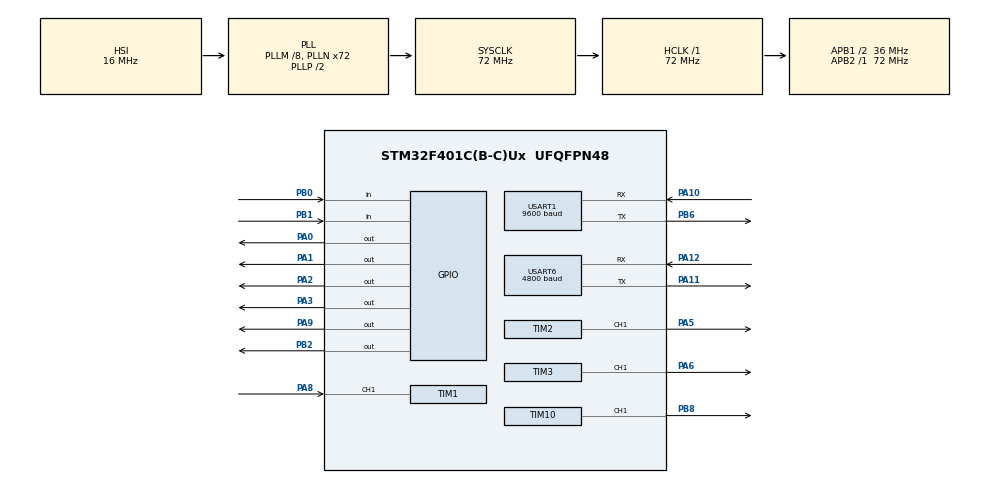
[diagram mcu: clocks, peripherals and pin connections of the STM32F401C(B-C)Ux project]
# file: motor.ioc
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Mcu.Family=STM32F4
Mcu.Name=STM32F401C(B-C)Ux
Mcu.Package=UFQFPN48
NVIC.PriorityGroup=NVIC_PRIORITYGROUP_4
PA0-WKUP.Signal=GPIO_Output
PA1.Signal=GPIO_Output
PA10.Mode=Asynchronous
PA10.Signal=USART1_RX
PA11.Mode=Asynchronous
PA11.Signal=USART6_TX
PA12.Mode=Asynchronous
PA12.Signal=USART6_RX
PA2.Signal=GPIO_Output
PA3.Signal=GPIO_Output
PA5.Signal=S_TIM2_CH1_ETR
PA6.Signal=S_TIM3_CH1
PA8.Signal=S_TIM1_CH1
PA9.Signal=GPIO_Output
PB0.Signal=GPIO_Input
PB1.Signal=GPIO_Input
PB2.Signal=GPIO_Output
PB6.Mode=Asynchronous
PB6.Signal=USART1_TX
PB8.Signal=S_TIM10_CH1
ProjectManager.HeapSize=0x200
ProjectManager.StackSize=0x400
ProjectManager.TargetToolchain=STM32CubeIDE
RCC.48MHZClocksFreq_Value=36000000
RCC.AHBFreq_Value=72000000
RCC.APB1CLKDivider=RCC_HCLK_DIV2
RCC.APB1Freq_Value=36000000
RCC.APB1TimFreq_Value=72000000
RCC.APB2Freq_Value=72000000
RCC.APB2TimFreq_Value=72000000
RCC.CortexFreq_Value=72000000
RCC.HCLKFreq_Value=72000000
RCC.HSE_VALUE=25000000
RCC.HSI_VALUE=16000000
RCC.LSE_VALUE=32768
RCC.PLLM=8
RCC.PLLN=72
RCC.SYSCLKFreq_VALUE=72000000
RCC.SYSCLKSource=RCC_SYSCLKSOURCE_PLLCLK
RCC.VCOOutputFreq_Value=144000000
SH.S_TIM10_CH1.0=TIM10_CH1,PWM Generation1 CH1
SH.S_TIM1_CH1.0=TIM1_CH1,Input_Capture1_from_TI1
SH.S_TIM2_CH1_ETR.0=TIM2_CH1,PWM Generation1 CH1
SH.S_TIM3_CH1.0=TIM3_CH1,PWM Generation1 CH1
TIM1.Channel-Input_Capture1_from_TI1=TIM_CHANNEL_1
TIM1.Prescaler=71
TIM10.Channel=TIM_CHANNEL_1
TIM10.Prescaler=4800
TIM2.Channel-PWM\ Generation1\ CH1=TIM_CHANNEL_1
TIM2.Period=499
TIM2.Prescaler=71
TIM3.Channel-PWM\ Generation1\ CH1=TIM_CHANNEL_1
TIM3.Period=499
TIM3.Prescaler=71
USART1.BaudRate=9600
USART1.VirtualMode=VM_ASYNC
USART6.BaudRate=4800
USART6.VirtualMode=VM_ASYNC
VP_TIM10_VS_ClockSourceINT.Mode=Enable_Timer
VP_TIM1_VS_ClockSourceINT.Mode=Internal
VP_TIM2_VS_ClockSourceINT.Mode=Internal
VP_TIM3_VS_ClockSourceINT.Mode=Internal
board=custom

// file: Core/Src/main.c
/* USER CODE BEGIN Header */
/**
  ******************************************************************************
  * @file           : main.c
  * @brief          : Main program body
  ******************************************************************************
  * @attention
  *
  * Copyright (c) 2024 STMicroelectronics.
  * All rights reserved.
  *
  * This software is licensed under terms that can be found in the LICENSE file
  * in the root directory of this software component.
  * If no LICENSE file comes with this software, it is provided AS-IS.
  *
  ******************************************************************************
  */
/* USER CODE END Header */
#include "main.h"

/* USER CODE BEGIN PM */
#define Black 1
#define White 0
#define Stop_Distance 15
#define Low_Distance 30
#define Medium_Distance 40
#define High_Distance 50
#define Stop 0
#define ADLowSpeed 200
#define ADMediumSpeed 250
#define ADHighSpeed 300
#define LowSpeed 100
#define MediumSpeed 200
#define HighSpeed 350
#define VeryHighSpeed 400
#define TSpeed 300
#define RLSpeed 350
#define LimitSpeed 300
#define TURN_ON_AUTOPILOT O
#define TURN_OFF_AUTOPILOT o
#define TURN_ON_ACC D
#define TURN_OFF_ACC d
#define TURN_ON_LKAS K
#define TURN_OFF_LKAS k
#define TURN_ON_AEB A
#define TURN_OFF_AEB a
#define TURN_ON_LCW C
#define TURN_OFF_LCW c
/* USER CODE END PM */

TIM_HandleTypeDef htim1;
TIM_HandleTypeDef htim2;
TIM_HandleTypeDef htim3;
TIM_HandleTypeDef htim10;

UART_HandleTypeDef huart1;
UART_HandleTypeDef huart6;

/* USER CODE BEGIN PV */
#define TRIG_PIN GPIO_PIN_9
#define TRIG_PORT GPIOA
#define ECHO_PIN GPIO_PIN_8
#define ECHO_PORT GPIOA

/* USER CODE END PV */

void SystemClock_Config(void);
static void MX_GPIO_Init(void);
static void MX_TIM1_Init(void);
static void MX_TIM2_Init(void);
static void MX_TIM3_Init(void);
static void MX_USART1_UART_Init(void);
static void MX_USART6_UART_Init(void);
static void MX_TIM10_Init(void);
/* USER CODE BEGIN PFP */
uint16_t ULTRASONIC_u16GetDistance(void);
void Car_vSpeed(uint16_t Distance);
void Auto_vPilot(uint16_t);
void Move_vForward(void);
void Move_vReverse(void);
void Move_vRight(void);
void Move_vLeft(void);
void Move_vRF(void);
void Move_vLF(void);
void Move_vRR(void);
void Move_vLR(void);
void Car_vFroward(void);
void Car_vStop(void);
void Car_vReverse(void);
void Car_vTRight(void);
void Car_vTLeft(void);
void ACC(uint16_t);
void LKAS(void);
void LCW(void);
void AEB(uint16_t);
/* USER CODE END PFP */

/* USER CODE BEGIN 0 */
uint16_t ULTRASONIC_u16GetDistance(void){

	uint32_t pMillis;
	uint32_t Value1 = 0;
	uint32_t Value2 = 0;
	uint16_t Distance  = 0;  // CM

HAL_GPIO_WritePin(TRIG_PORT, TRIG_PIN, GPIO_PIN_SET);  // pull the TRIG pin HIGH
    __HAL_TIM_SET_COUNTER(&htim1, 0);
    while (__HAL_TIM_GET_COUNTER (&htim1) < 10);  // wait for 10 us
    HAL_GPIO_WritePin(TRIG_PORT, TRIG_PIN, GPIO_PIN_RESET);  // pull the TRIG pin low

    pMillis = HAL_GetTick(); // used this to avoid infinite while loop  (for timeout)
    // wait for the echo pin to go high
    while (!(HAL_GPIO_ReadPin (ECHO_PORT, ECHO_PIN)) && pMillis + 10 >  HAL_GetTick());
    Value1 = __HAL_TIM_GET_COUNTER (&htim1);

    pMillis = HAL_GetTick(); // used this to avoid infinite while loop (for timeout)
    // wait for the echo pin to go low
    while ((HAL_GPIO_ReadPin (ECHO_PORT, ECHO_PIN)) && pMillis + 50 > HAL_GetTick());
    Value2 = __HAL_TIM_GET_COUNTER (&htim1);

    Distance = (Value2-Value1)* 0.034/2;
    HAL_Delay(50);

    return Distance;
}

void Car_vSpeed(uint16_t Distance){

	// Fun take Distance to select the speed (i have 5 cases : 0% - 25% - 50% - 75% - 100% )

    if (Distance <= Stop_Distance )	// Distance less than 15cm car will stop.
   {
 	  TIM2->CCR1 = Stop;
 	  TIM3->CCR1 = Stop;
 	  HAL_TIM_PWM_Start(&htim2, TIM_CHANNEL_1);
 	  HAL_TIM_PWM_Start(&htim3, TIM_CHANNEL_1);
 	  Car_vStop();
   }
    else if((Distance > Stop_Distance) && (Distance < Low_Distance)) // Distance more than 15cm and less than 30cm car will take 25% of power .
   {
      HAL_TIM_PWM_Stop(&htim2, TIM_CHANNEL_1);
      HAL_TIM_PWM_Stop(&htim3, TIM_CHANNEL_1);
 	  TIM2->CCR1 = ADLowSpeed;
 	  TIM3->CCR1 = ADLowSpeed;
 	  HAL_TIM_PWM_Start(&htim2, TIM_CHANNEL_1);
 	  HAL_TIM_PWM_Start(&htim3, TIM_CHANNEL_1);
 	  Car_vFroward();
   }
   else if ( (Distance >= Low_Distance) && (Distance < Medium_Distance) ) // Distance more than 30cm and less than 40cm car will take 50% of power .
   {
 	  HAL_TIM_PWM_Stop(&htim2, TIM_CHANNEL_1);
 	  HAL_TIM_PWM_Stop(&htim3, TIM_CHANNEL_1);
 	  TIM2->CCR1 = ADMediumSpeed;
 	  TIM3->CCR1 = ADMediumSpeed;
 	  HAL_TIM_PWM_Start(&htim2, TIM_CHANNEL_1);
 	  HAL_TIM_PWM_Start(&htim3, TIM_CHANNEL_1);
 	  Car_vFroward();
   }
   else if ( (Distance >= Medium_Distance) && (Distance < High_Distance) ) // Distance more than 40cm and less than 50cm car will take 75% of power .
   {
 	  HAL_TIM_PWM_Stop(&htim2, TIM_CHANNEL_1);
 	  HAL_TIM_PWM_Stop(&htim3, TIM_CHANNEL_1);
 	  TIM2->CCR1 = ADHighSpeed;
 	  TIM3->CCR1 = ADHighSpeed;
 	  HAL_TIM_PWM_Start(&htim2, TIM_CHANNEL_1);
 	  HAL_TIM_PWM_Start(&htim3, TIM_CHANNEL_1);
 	  Car_vFroward();
   }
   else  // Distance more than 35cm car will take full power ..
   {
 	  HAL_TIM_PWM_Stop(&htim2, TIM_CHANNEL_1);
 	  HAL_TIM_PWM_Stop(&htim3, TIM_CHANNEL_1);
 	  TIM2->CCR1 = ADHighSpeed;
 	  TIM3->CCR1 = ADHighSpeed;
 	  HAL_TIM_PWM_Start(&htim2, TIM_CHANNEL_1);
 	  HAL_TIM_PWM_Start(&htim3, TIM_CHANNEL_1);
 	  Car_vFroward();
   }
}

void Car_vFroward(void){
      HAL_GPIO_WritePin(GPIOA, GPIO_PIN_0, GPIO_SPEED_HIGH);
      HAL_GPIO_WritePin(GPIOA, GPIO_PIN_1, GPIO_SPEED_LOW);
      HAL_GPIO_WritePin(GPIOA, GPIO_PIN_2, GPIO_SPEED_HIGH);
      HAL_GPIO_WritePin(GPIOA, GPIO_PIN_3, GPIO_SPEED_LOW);
}
void Car_vStop(void){
      HAL_GPIO_WritePin(GPIOA, GPIO_PIN_0, GPIO_SPEED_LOW);
      HAL_GPIO_WritePin(GPIOA, GPIO_PIN_1, GPIO_SPEED_LOW);
      HAL_GPIO_WritePin(GPIOA, GPIO_PIN_2, GPIO_SPEED_LOW);
      HAL_GPIO_WritePin(GPIOA, GPIO_PIN_3, GPIO_SPEED_LOW);
}
void Car_vReverse(void){
      HAL_GPIO_WritePin(GPIOA, GPIO_PIN_0, GPIO_SPEED_LOW);
      HAL_GPIO_WritePin(GPIOA, GPIO_PIN_1, GPIO_SPEED_HIGH);
      HAL_GPIO_WritePin(GPIOA, GPIO_PIN_2, GPIO_SPEED_LOW);
      HAL_GPIO_WritePin(GPIOA, GPIO_PIN_3, GPIO_SPEED_HIGH);
}
void Car_vTRight(void){
    HAL_GPIO_WritePin(GPIOA, GPIO_PIN_0, GPIO_SPEED_LOW);
    HAL_GPIO_WritePin(GPIOA, GPIO_PIN_1, GPIO_SPEED_LOW);
    HAL_GPIO_WritePin(GPIOA, GPIO_PIN_2, GPIO_SPEED_HIGH);
    HAL_GPIO_WritePin(GPIOA, GPIO_PIN_3, GPIO_SPEED_LOW);
}
void Car_vTLeft(void){
    HAL_GPIO_WritePin(GPIOA, GPIO_PIN_0, GPIO_SPEED_HIGH);
    HAL_GPIO_WritePin(GPIOA, GPIO_PIN_1, GPIO_SPEED_LOW);
    HAL_GPIO_WritePin(GPIOA, GPIO_PIN_2, GPIO_SPEED_LOW);
    HAL_GPIO_WritePin(GPIOA, GPIO_PIN_3, GPIO_SPEED_LOW);
}
// Move Forward
void Move_vForward(void){
	  HAL_TIM_PWM_Stop(&htim2, TIM_CHANNEL_1);
	  HAL_TIM_PWM_Stop(&htim3, TIM_CHANNEL_1);
	  TIM2->CCR1 = VeryHighSpeed;
	  TIM3->CCR1 = VeryHighSpeed;
	  HAL_TIM_PWM_Start(&htim2, TIM_CHANNEL_1);
	  HAL_TIM_PWM_Start(&htim3, TIM_CHANNEL_1);
	  Car_vFroward();
}
// Move Reverse
void Move_vReverse(void){
	  HAL_TIM_PWM_Stop(&htim2, TIM_CHANNEL_1);
	  HAL_TIM_PWM_Stop(&htim3, TIM_CHANNEL_1);
	  TIM2->CCR1 = VeryHighSpeed;
	  TIM3->CCR1 = VeryHighSpeed;
	  HAL_TIM_PWM_Start(&htim2, TIM_CHANNEL_1);
	  HAL_TIM_PWM_Start(&htim3, TIM_CHANNEL_1);
	  Car_vReverse();
}
//Move Right
void Move_vRight(void){
	  HAL_TIM_PWM_Stop(&htim2, TIM_CHANNEL_1);
	  HAL_TIM_PWM_Stop(&htim3, TIM_CHANNEL_1);
	  TIM2->CCR1 = Stop;
	  TIM3->CCR1 = HighSpeed;
	  HAL_TIM_PWM_Start(&htim2, TIM_CHANNEL_1);
	  HAL_TIM_PWM_Start(&htim3, TIM_CHANNEL_1);
	  Car_vTRight();
}
//Move Left
void Move_vLeft(void){
	  HAL_TIM_PWM_Stop(&htim2, TIM_CHANNEL_1);
	  HAL_TIM_PWM_Stop(&htim3, TIM_CHANNEL_1);
	  TIM2->CCR1 = HighSpeed;
	  TIM3->CCR1 = Stop;
	  HAL_TIM_PWM_Start(&htim2, TIM_CHANNEL_1);
	  HAL_TIM_PWM_Start(&htim3, TIM_CHANNEL_1);
	  Car_vTLeft();
}
// move forward with Right angle
void Move_vRF(void){
	  HAL_TIM_PWM_Stop(&htim2, TIM_CHANNEL_1);
	  HAL_TIM_PWM_Stop(&htim3, TIM_CHANNEL_1);
	  TIM2->CCR1 = TSpeed;
	  TIM3->CCR1 = VeryHighSpeed;
	  HAL_TIM_PWM_Start(&htim2, TIM_CHANNEL_1);
	  HAL_TIM_PWM_Start(&htim3, TIM_CHANNEL_1);
	  Car_vFroward();
}
 // move forward with left angle
void Move_vLF(void){
	  HAL_TIM_PWM_Stop(&htim2, TIM_CHANNEL_1);
	  HAL_TIM_PWM_Stop(&htim3, TIM_CHANNEL_1);
	  TIM2->CCR1 = VeryHighSpeed;
	  TIM3->CCR1 = TSpeed;
	  HAL_TIM_PWM_Start(&htim2, TIM_CHANNEL_1);
	  HAL_TIM_PWM_Start(&htim3, TIM_CHANNEL_1);
	  Car_vFroward();
}
// move Reverse with right angle
void Move_vRR(void){
	  HAL_TIM_PWM_Stop(&htim2, TIM_CHANNEL_1);
	  HAL_TIM_PWM_Stop(&htim3, TIM_CHANNEL_1);
	  TIM2->CCR1 =TSpeed;
	  TIM3->CCR1 = VeryHighSpeed;
	  HAL_TIM_PWM_Start(&htim2, TIM_CHANNEL_1);
	  HAL_TIM_PWM_Start(&htim3, TIM_CHANNEL_1);
	  Car_vReverse();
}
//  // move Reverse with left angle
void Move_vLR(void){
	  HAL_TIM_PWM_Stop(&htim2, TIM_CHANNEL_1);
	  HAL_TIM_PWM_Stop(&htim3, TIM_CHANNEL_1);
	  TIM2->CCR1 = VeryHighSpeed;
	  TIM3->CCR1 = TSpeed;
	  HAL_TIM_PWM_Start(&htim2, TIM_CHANNEL_1);
	  HAL_TIM_PWM_Start(&htim3, TIM_CHANNEL_1);
	  Car_vReverse();
}
// car move with all features
void Auto_vPilot(uint16_t distance_car){

	  ACC(distance_car);
	  LCW();

}

// Adaptive cruise control
void ACC(uint16_t distance_car){

	  distance_car = ULTRASONIC_u16GetDistance();
	  Car_vSpeed(distance_car);

}
// Lane Keep Assist System
void LKAS(void){

	 uint8_t S_RIR;
	 uint8_t S_LIR;
	  S_RIR =HAL_GPIO_ReadPin(GPIOB, GPIO_PIN_0);
	  S_LIR =HAL_GPIO_ReadPin(GPIOB, GPIO_PIN_1);

	  if(S_RIR==Black && S_LIR==Black){
	 	  HAL_TIM_PWM_Stop(&htim2, TIM_CHANNEL_1);
	 	  HAL_TIM_PWM_Stop(&htim3, TIM_CHANNEL_1);
	 	  TIM2->CCR1 = LimitSpeed;
	 	  TIM3->CCR1 = LimitSpeed;
	 	  HAL_TIM_PWM_Start(&htim2, TIM_CHANNEL_1);
	 	  HAL_TIM_PWM_Start(&htim3, TIM_CHANNEL_1);
		Car_vFroward();
	  }
	  else if (S_RIR==Black && S_LIR==White){
	 	  HAL_TIM_PWM_Stop(&htim2, TIM_CHANNEL_1);
	 	  HAL_TIM_PWM_Stop(&htim3, TIM_CHANNEL_1);
	 	  TIM2->CCR1 = RLSpeed;
	 	  TIM3->CCR1 = Stop;
	 	  HAL_TIM_PWM_Start(&htim2, TIM_CHANNEL_1);
	 	  HAL_TIM_PWM_Start(&htim3, TIM_CHANNEL_1);
		Car_vTLeft();
	  }
	  else if (S_RIR==White && S_LIR==Black){
	 	  HAL_TIM_PWM_Stop(&htim2, TIM_CHANNEL_1);
	 	  HAL_TIM_PWM_Stop(&htim3, TIM_CHANNEL_1);
	 	  TIM2->CCR1 = Stop;
	 	  TIM3->CCR1 = RLSpeed;
	 	  HAL_TIM_PWM_Start(&htim2, TIM_CHANNEL_1);
	 	  HAL_TIM_PWM_Start(&htim3, TIM_CHANNEL_1);
		Car_vTRight();
	  }
	  else
		  Car_vStop();
}
// Lane collision Warning
void LCW(void){
	 uint8_t S_RIR;
	 uint8_t S_LIR;
	  S_RIR =HAL_GPIO_ReadPin(GPIOB, GPIO_PIN_0);
	  S_LIR =HAL_GPIO_ReadPin(GPIOB, GPIO_PIN_1);

	  if(S_RIR==Black && S_LIR==Black){
		  HAL_GPIO_WritePin(GPIOB, GPIO_PIN_2, GPIO_SPEED_LOW);
	 	  HAL_TIM_PWM_Stop(&htim2, TIM_CHANNEL_1);
	 	  HAL_TIM_PWM_Stop(&htim3, TIM_CHANNEL_1);
	 	  TIM2->CCR1 = LimitSpeed;
	 	  TIM3->CCR1 = LimitSpeed;
	 	  HAL_TIM_PWM_Start(&htim2, TIM_CHANNEL_1);
	 	  HAL_TIM_PWM_Start(&htim3, TIM_CHANNEL_1);
		Car_vFroward();
	  }
	  else if (S_RIR==Black && S_LIR==White){
		  HAL_GPIO_WritePin(GPIOB, GPIO_PIN_2, GPIO_SPEED_HIGH);
	 	  HAL_TIM_PWM_Stop(&htim2, TIM_CHANNEL_1);
	 	  HAL_TIM_PWM_Stop(&htim3, TIM_CHANNEL_1);
	 	  TIM2->CCR1 = RLSpeed;
	 	  TIM3->CCR1 = RLSpeed;
	 	  HAL_TIM_PWM_Start(&htim2, TIM_CHANNEL_1);
	 	  HAL_TIM_PWM_Start(&htim3, TIM_CHANNEL_1);
		Car_vTLeft();
	  }
	  else if (S_RIR==White && S_LIR==Black){
          HAL_GPIO_WritePin(GPIOB, GPIO_PIN_2, GPIO_SPEED_HIGH);
	 	  HAL_TIM_PWM_Stop(&htim2, TIM_CHANNEL_1);
	 	  HAL_TIM_PWM_Stop(&htim3, TIM_CHANNEL_1);
	 	  TIM2->CCR1 = RLSpeed;
	 	  TIM3->CCR1 = RLSpeed;
	 	  HAL_TIM_PWM_Start(&htim2, TIM_CHANNEL_1);
	 	  HAL_TIM_PWM_Start(&htim3, TIM_CHANNEL_1);
		Car_vTRight();
	  }
	  else{
	      HAL_GPIO_WritePin(GPIOB, GPIO_PIN_2, GPIO_SPEED_LOW);
	 	  HAL_TIM_PWM_Stop(&htim2, TIM_CHANNEL_1);
	 	  HAL_TIM_PWM_Stop(&htim3, TIM_CHANNEL_1);
	 	  TIM2->CCR1 = Stop;
	 	  TIM3->CCR1 = Stop;
	 	  HAL_TIM_PWM_Start(&htim2, TIM_CHANNEL_1);
	 	  HAL_TIM_PWM_Start(&htim3, TIM_CHANNEL_1);
		Car_vStop();
	  }
}
// Automatic Emergency Brake
void AEB (uint16_t distance_car){

	  distance_car = ULTRASONIC_u16GetDistance();
	  if (distance_car < Stop_Distance )	// Distance less than 5cm car will stop.
	     {
	   	  HAL_TIM_PWM_Stop(&htim2, TIM_CHANNEL_1);
	   	  HAL_TIM_PWM_Stop(&htim3, TIM_CHANNEL_1);
	   	  TIM2->CCR1 = Stop;
	   	  TIM3->CCR1 = Stop;
	   	  HAL_TIM_PWM_Start(&htim2, TIM_CHANNEL_1);
	   	  HAL_TIM_PWM_Start(&htim3, TIM_CHANNEL_1);
	   	  Car_vStop();
	     }
	   else // Distance more than 35cm car will take full power .
	   {
		  HAL_Delay(20);
		  HAL_TIM_PWM_Stop(&htim2, TIM_CHANNEL_1);
		  HAL_TIM_PWM_Stop(&htim3, TIM_CHANNEL_1);
		  TIM2->CCR1 = ADHighSpeed;
		  TIM3->CCR1 = ADHighSpeed;
		  HAL_TIM_PWM_Start(&htim2, TIM_CHANNEL_1);
		  HAL_TIM_PWM_Start(&htim3, TIM_CHANNEL_1);
		  Car_vFroward();
	   }
}
/* USER CODE END 0 */

int main(void)
{

  /* MCU Configuration--------------------------------------------------------*/

  /* Reset of all peripherals, Initializes the Flash interface and the Systick. */
  HAL_Init();

  /* Configure the system clock */
  SystemClock_Config();

  /* Initialize all configured peripherals */
  MX_GPIO_Init();
  MX_TIM1_Init();
  MX_TIM2_Init();
  MX_TIM3_Init();
  MX_USART1_UART_Init();
  MX_USART6_UART_Init();
  MX_TIM10_Init();
  /* USER CODE BEGIN 2 */
    HAL_TIM_Base_Start(&htim1);
    HAL_GPIO_WritePin(TRIG_PORT, TRIG_PIN, GPIO_PIN_RESET);
    uint16_t distance_car = Stop;
    uint8_t Str = 'Z';
    char car [] = "Hello";
  /* USER COD E END 2 */

  /* Infinite loop */
  while (1)
  {
	      HAL_UART_Receive(&huart1, &Str, sizeof(Str), 500 );
	 	  HAL_UART_Transmit(&huart6, &Str, sizeof(car), 500 );
	 	  switch (Str) {
	 	  	case ('O') :         //TURN_ON_AUTOPILOT
	 	  		Auto_vPilot(distance_car);
	 	  		break;
	 	  	case ('o') :         //TURN_OFF_AUTOPILOT
	 	  		HAL_TIM_PWM_Stop(&htim2, TIM_CHANNEL_1);
	 	  		HAL_TIM_PWM_Stop(&htim3, TIM_CHANNEL_1);
	 	  		break;
	 	  	case ('K') :        //TURN_ON_LKAS
	 	  		LKAS();
	 	  		break;
	 	  	case ('k') :       //TURN_OFF_LKAS
	 	  		HAL_TIM_PWM_Stop(&htim2, TIM_CHANNEL_1);
	 	  		HAL_TIM_PWM_Stop(&htim3, TIM_CHANNEL_1);
	 	  		break;
	 	  	case ('D') :        //TURN_ON_ACC
	 	  		ACC(distance_car);
	 	  		break;
	 	  	case ('d') :       //TURN_OFF_ACC
	 	  		HAL_TIM_PWM_Stop(&htim2, TIM_CHANNEL_1);
	 	  		HAL_TIM_PWM_Stop(&htim3, TIM_CHANNEL_1);
	 	  		break;
	 	  	case ('E') :      //TURN_ON_AEC
	 	  		AEB(distance_car);
	 	  		break;
	 	  	case ('e') :      //TURN_OFF_AEC
	 	  		HAL_TIM_PWM_Stop(&htim2, TIM_CHANNEL_1);
	 	  		HAL_TIM_PWM_Stop(&htim3, TIM_CHANNEL_1);
	 	  		break;
	 	  	case ('C') :     //TURN_ON_LCW
	 	  		LCW();
	 	  		break;
	 	  	case ('c') :    //TURN_OFF_LCW
	 	  		HAL_TIM_PWM_Stop(&htim2, TIM_CHANNEL_1);
	 	  		HAL_TIM_PWM_Stop(&htim3, TIM_CHANNEL_1);
	 	  		break;
	 	  	case ('F') :    //MOVE FORWARD
	 	  		Move_vForward();
	 	  		break;
	 	  	case ('B') :    //MOVE REVERSE
	 	          Move_vReverse();
	 	  		break;
	 	  	case ('L') :    //MOVE LEFT
	 	          Move_vLeft();
	 	  		break;
	 	  	case ('R') :    //MOVE RIGHT
	 	          Move_vRight();
	 	  		break;
	 	  	case ('W') :    //MOVE RIGHT Forward
	 	          Move_vRF();
	 	  		break;
	 	  	case ('Y') :    //MOVE Left Forward
	 	          Move_vLF();
	 	  		break;
	 	  	case ('r') :    //MOVE Right Reverse
	 	          Move_vRR();
	 	  		break;
	 	  	case ('X') :    //MOVE Left Reverse
	 	          Move_vLR();
	 	  		break;
	 	  	default: Car_vStop();
			 	  	    break;
			 	  }
  }
}

void SystemClock_Config(void)
{
  RCC_OscInitTypeDef RCC_OscInitStruct = {0};
  RCC_ClkInitTypeDef RCC_ClkInitStruct = {0};

  /** Configure the main internal regulator output voltage
  */
  __HAL_RCC_PWR_CLK_ENABLE();
  __HAL_PWR_VOLTAGESCALING_CONFIG(PWR_REGULATOR_VOLTAGE_SCALE2);

  /** Initializes the RCC Oscillators according to the specified parameters
  * in the RCC_OscInitTypeDef structure.
  */
  RCC_OscInitStruct.OscillatorType = RCC_OSCILLATORTYPE_HSI;
  RCC_OscInitStruct.HSIState = RCC_HSI_ON;
  RCC_OscInitStruct.HSICalibrationValue = RCC_HSICALIBRATION_DEFAULT;
  RCC_OscInitStruct.PLL.PLLState = RCC_PLL_ON;
  RCC_OscInitStruct.PLL.PLLSource = RCC_PLLSOURCE_HSI;
  RCC_OscInitStruct.PLL.PLLM = 8;
  RCC_OscInitStruct.PLL.PLLN = 72;
  RCC_OscInitStruct.PLL.PLLP = RCC_PLLP_DIV2;
  RCC_OscInitStruct.PLL.PLLQ = 4;
  if (HAL_RCC_OscConfig(&RCC_OscInitStruct) != HAL_OK)
  {
    Error_Handler();
  }

  /** Initializes the CPU, AHB and APB buses clocks
  */
  RCC_ClkInitStruct.ClockType = RCC_CLOCKTYPE_HCLK|RCC_CLOCKTYPE_SYSCLK
                              |RCC_CLOCKTYPE_PCLK1|RCC_CLOCKTYPE_PCLK2;
  RCC_ClkInitStruct.SYSCLKSource = RCC_SYSCLKSOURCE_PLLCLK;
  RCC_ClkInitStruct.AHBCLKDivider = RCC_SYSCLK_DIV1;
  RCC_ClkInitStruct.APB1CLKDivider = RCC_HCLK_DIV2;
  RCC_ClkInitStruct.APB2CLKDivider = RCC_HCLK_DIV1;

  if (HAL_RCC_ClockConfig(&RCC_ClkInitStruct, FLASH_LATENCY_2) != HAL_OK)
  {
    Error_Handler();
  }
}

static void MX_TIM1_Init(void)
{

  TIM_ClockConfigTypeDef sClockSourceConfig = {0};
  TIM_MasterConfigTypeDef sMasterConfig = {0};
  TIM_IC_InitTypeDef sConfigIC = {0};

  htim1.Instance = TIM1;
  htim1.Init.Prescaler = 71;
  htim1.Init.CounterMode = TIM_COUNTERMODE_UP;
  htim1.Init.Period = 65535;
  htim1.Init.ClockDivision = TIM_CLOCKDIVISION_DIV1;
  htim1.Init.RepetitionCounter = 0;
  htim1.Init.AutoReloadPreload = TIM_AUTORELOAD_PRELOAD_DISABLE;
  if (HAL_TIM_Base_Init(&htim1) != HAL_OK)
  {
    Error_Handler();
  }
  sClockSourceConfig.ClockSource = TIM_CLOCKSOURCE_INTERNAL;
  if (HAL_TIM_ConfigClockSource(&htim1, &sClockSourceConfig) != HAL_OK)
  {
    Error_Handler();
  }
  if (HAL_TIM_IC_Init(&htim1) != HAL_OK)
  {
    Error_Handler();
  }
  sMasterConfig.MasterOutputTrigger = TIM_TRGO_RESET;
  sMasterConfig.MasterSlaveMode = TIM_MASTERSLAVEMODE_DISABLE;
  if (HAL_TIMEx_MasterConfigSynchronization(&htim1, &sMasterConfig) != HAL_OK)
  {
    Error_Handler();
  }
  sConfigIC.ICPolarity = TIM_INPUTCHANNELPOLARITY_RISING;
  sConfigIC.ICSelection = TIM_ICSELECTION_DIRECTTI;
  sConfigIC.ICPrescaler = TIM_ICPSC_DIV1;
  sConfigIC.ICFilter = 0;
  if (HAL_TIM_IC_ConfigChannel(&htim1, &sConfigIC, TIM_CHANNEL_1) != HAL_OK)
  {
    Error_Handler();
  }

}

static void MX_TIM2_Init(void)
{

  TIM_ClockConfigTypeDef sClockSourceConfig = {0};
  TIM_MasterConfigTypeDef sMasterConfig = {0};
  TIM_OC_InitTypeDef sConfigOC = {0};

  htim2.Instance = TIM2;
  htim2.Init.Prescaler = 71;
  htim2.Init.CounterMode = TIM_COUNTERMODE_UP;
  htim2.Init.Period = 499;
  htim2.Init.ClockDivision = TIM_CLOCKDIVISION_DIV1;
  htim2.Init.AutoReloadPreload = TIM_AUTORELOAD_PRELOAD_DISABLE;
  if (HAL_TIM_Base_Init(&htim2) != HAL_OK)
  {
    Error_Handler();
  }
  sClockSourceConfig.ClockSource = TIM_CLOCKSOURCE_INTERNAL;
  if (HAL_TIM_ConfigClockSource(&htim2, &sClockSourceConfig) != HAL_OK)
  {
    Error_Handler();
  }
  if (HAL_TIM_PWM_Init(&htim2) != HAL_OK)
  {
    Error_Handler();
  }
  sMasterConfig.MasterOutputTrigger = TIM_TRGO_RESET;
  sMasterConfig.MasterSlaveMode = TIM_MASTERSLAVEMODE_DISABLE;
  if (HAL_TIMEx_MasterConfigSynchronization(&htim2, &sMasterConfig) != HAL_OK)
  {
    Error_Handler();
  }
  sConfigOC.OCMode = TIM_OCMODE_PWM1;
  sConfigOC.Pulse = 0;
  sConfigOC.OCPolarity = TIM_OCPOLARITY_HIGH;
  sConfigOC.OCFastMode = TIM_OCFAST_DISABLE;
  if (HAL_TIM_PWM_ConfigChannel(&htim2, &sConfigOC, TIM_CHANNEL_1) != HAL_OK)
  {
    Error_Handler();
  }
  HAL_TIM_MspPostInit(&htim2);

}

static void MX_TIM3_Init(void)
{

  TIM_ClockConfigTypeDef sClockSourceConfig = {0};
  TIM_MasterConfigTypeDef sMasterConfig = {0};
  TIM_OC_InitTypeDef sConfigOC = {0};

  htim3.Instance = TIM3;
  htim3.Init.Prescaler = 71;
  htim3.Init.CounterMode = TIM_COUNTERMODE_UP;
  htim3.Init.Period = 499;
  htim3.Init.ClockDivision = TIM_CLOCKDIVISION_DIV1;
  htim3.Init.AutoReloadPreload = TIM_AUTORELOAD_PRELOAD_DISABLE;
  if (HAL_TIM_Base_Init(&htim3) != HAL_OK)
  {
    Error_Handler();
  }
  sClockSourceConfig.ClockSource = TIM_CLOCKSOURCE_INTERNAL;
  if (HAL_TIM_ConfigClockSource(&htim3, &sClockSourceConfig) != HAL_OK)
  {
    Error_Handler();
  }
  if (HAL_TIM_PWM_Init(&htim3) != HAL_OK)
  {
    Error_Handler();
  }
  sMasterConfig.MasterOutputTrigger = TIM_TRGO_RESET;
  sMasterConfig.MasterSlaveMode = TIM_MASTERSLAVEMODE_DISABLE;
  if (HAL_TIMEx_MasterConfigSynchronization(&htim3, &sMasterConfig) != HAL_OK)
  {
    Error_Handler();
  }
  sConfigOC.OCMode = TIM_OCMODE_PWM1;
  sConfigOC.Pulse = 0;
  sConfigOC.OCPolarity = TIM_OCPOLARITY_HIGH;
  sConfigOC.OCFastMode = TIM_OCFAST_DISABLE;
  if (HAL_TIM_PWM_ConfigChannel(&htim3, &sConfigOC, TIM_CHANNEL_1) != HAL_OK)
  {
    Error_Handler();
  }
  HAL_TIM_MspPostInit(&htim3);

}

static void MX_TIM10_Init(void)
{

  TIM_OC_InitTypeDef sConfigOC = {0};

  htim10.Instance = TIM10;
  htim10.Init.Prescaler = 4800;
  htim10.Init.CounterMode = TIM_COUNTERMODE_UP;
  htim10.Init.Period = 65535;
  htim10.Init.ClockDivision = TIM_CLOCKDIVISION_DIV1;
  htim10.Init.AutoReloadPreload = TIM_AUTORELOAD_PRELOAD_DISABLE;
  if (HAL_TIM_Base_Init(&htim10) != HAL_OK)
  {
    Error_Handler();
  }
  if (HAL_TIM_PWM_Init(&htim10) != HAL_OK)
  {
    Error_Handler();
  }
  sConfigOC.OCMode = TIM_OCMODE_PWM1;
  sConfigOC.Pulse = 0;
  sConfigOC.OCPolarity = TIM_OCPOLARITY_HIGH;
  sConfigOC.OCFastMode = TIM_OCFAST_DISABLE;
  if (HAL_TIM_PWM_ConfigChannel(&htim10, &sConfigOC, TIM_CHANNEL_1) != HAL_OK)
  {
    Error_Handler();
  }
  HAL_TIM_MspPostInit(&htim10);

}

static void MX_USART1_UART_Init(void)
{

  huart1.Instance = USART1;
  huart1.Init.BaudRate = 9600;
  huart1.Init.WordLength = UART_WORDLENGTH_8B;
  huart1.Init.StopBits = UART_STOPBITS_1;
  huart1.Init.Parity = UART_PARITY_NONE;
  huart1.Init.Mode = UART_MODE_TX_RX;
  huart1.Init.HwFlowCtl = UART_HWCONTROL_NONE;
  huart1.Init.OverSampling = UART_OVERSAMPLING_16;
  if (HAL_UART_Init(&huart1) != HAL_OK)
  {
    Error_Handler();
  }

}

static void MX_USART6_UART_Init(void)
{

  huart6.Instance = USART6;
  huart6.Init.BaudRate = 4800;
  huart6.Init.WordLength = UART_WORDLENGTH_8B;
  huart6.Init.StopBits = UART_STOPBITS_1;
  huart6.Init.Parity = UART_PARITY_NONE;
  huart6.Init.Mode = UART_MODE_TX_RX;
  huart6.Init.HwFlowCtl = UART_HWCONTROL_NONE;
  huart6.Init.OverSampling = UART_OVERSAMPLING_16;
  if (HAL_UART_Init(&huart6) != HAL_OK)
  {
    Error_Handler();
  }

}

static void MX_GPIO_Init(void)
{
  GPIO_InitTypeDef GPIO_InitStruct = {0};

  /* GPIO Ports Clock Enable */
  __HAL_RCC_GPIOA_CLK_ENABLE();
  __HAL_RCC_GPIOB_CLK_ENABLE();

  /*Configure GPIO pin Output Level */
  HAL_GPIO_WritePin(GPIOA, GPIO_PIN_0|GPIO_PIN_1|GPIO_PIN_2|GPIO_PIN_3
                          |GPIO_PIN_9, GPIO_PIN_RESET);

  /*Configure GPIO pin Output Level */
  HAL_GPIO_WritePin(GPIOB, GPIO_PIN_2, GPIO_PIN_RESET);

  /*Configure GPIO pins : PA0 PA1 PA2 PA3
                           PA9 */
  GPIO_InitStruct.Pin = GPIO_PIN_0|GPIO_PIN_1|GPIO_PIN_2|GPIO_PIN_3
                          |GPIO_PIN_9;
  GPIO_InitStruct.Mode = GPIO_MODE_OUTPUT_PP;
  GPIO_InitStruct.Pull = GPIO_NOPULL;
  GPIO_InitStruct.Speed = GPIO_SPEED_FREQ_LOW;
  HAL_GPIO_Init(GPIOA, &GPIO_InitStruct);

  /*Configure GPIO pins : PB0 PB1 */
  GPIO_InitStruct.Pin = GPIO_PIN_0|GPIO_PIN_1;
  GPIO_InitStruct.Mode = GPIO_MODE_INPUT;
  GPIO_InitStruct.Pull = GPIO_NOPULL;
  HAL_GPIO_Init(GPIOB, &GPIO_InitStruct);

  /*Configure GPIO pin : PB2 */
  GPIO_InitStruct.Pin = GPIO_PIN_2;
  GPIO_InitStruct.Mode = GPIO_MODE_OUTPUT_PP;
  GPIO_InitStruct.Pull = GPIO_NOPULL;
  GPIO_InitStruct.Speed = GPIO_SPEED_FREQ_LOW;
  HAL_GPIO_Init(GPIOB, &GPIO_InitStruct);

}

void Error_Handler(void)
{
  __disable_irq();
  while (1)
  {
  }
}
